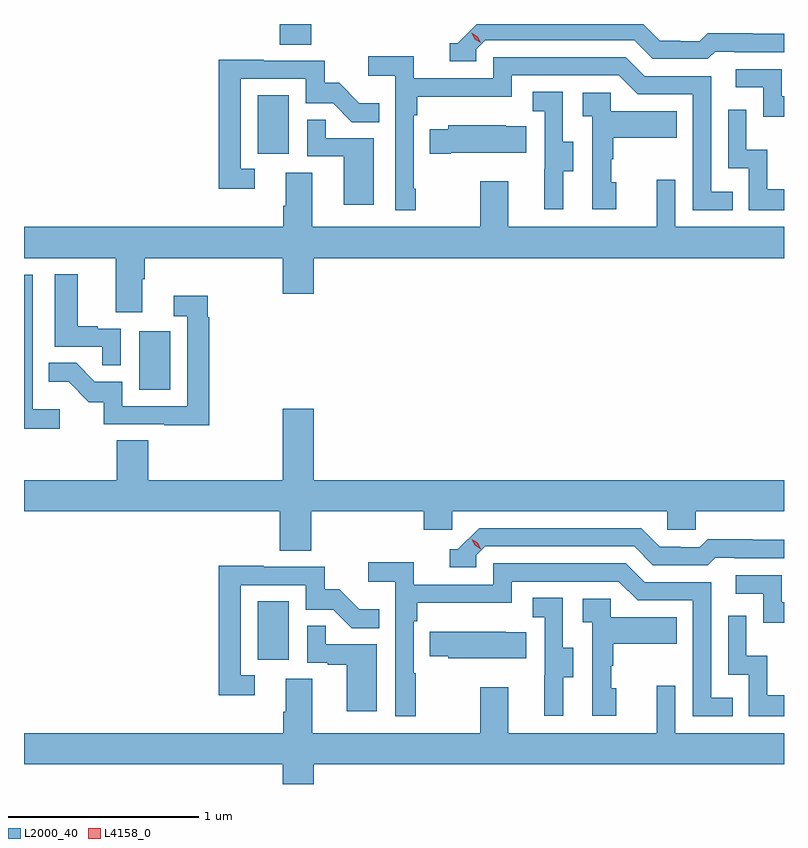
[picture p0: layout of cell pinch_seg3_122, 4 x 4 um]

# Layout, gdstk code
import gdstk
lib = gdstk.Library(unit=1e-6, precision=1e-09)
def R(c, l, rs):  # rectangles x0, y0, x1, y1
    for r in rs: c.add(gdstk.rectangle(r[:2], r[2:], *l))
def P(c, l, *ps):  # polygons
    for p in ps: c.add(gdstk.Polygon(p, *l))
L2000_40 = (2000, 40)
L4158_0 = (4158, 0)

pinch_seg3_122 = lib.new_cell('pinch_seg3_122')
R(pinch_seg3_122, L2000_40, [(1141.898,710.79,1142.062,711.097), (1141.274,712.212,1141.438,712.519), (1141.898,713.454,1142.062,713.761), (1142.015,714.028,1142.18,714.136)])
P(pinch_seg3_122, L2000_40, [(1143.048,714.003),(1143.096,714.051),(1143.879,714.051),(1143.978,713.952),(1144.267,713.952),(1144.306,713.991),(1144.405,713.991),(1144.405,713.988),(1144.668,713.988),(1144.668,714.085),(1144.5,714.085),(1144.5,714.088),(1144.267,714.088),(1144.225,714.045),(1144.122,714.045),(1144.122,714.048),(1144.015,714.048),(1143.927,714.136),(1143.052,714.136),(1142.952,714.036),(1142.909,714.036),(1142.909,713.94),(1143.048,713.94)],
  [(1142.731,713.269),(1142.718,713.269),(1142.718,713.657),(1142.738,713.657),(1142.738,713.753),(1143.234,713.753),(1143.234,713.865),(1143.798,713.865),(1143.897,713.766),(1144.188,713.766),(1144.188,713.157),(1144.397,713.157),(1144.397,713.253),(1144.284,713.253),(1144.284,713.862),(1143.934,713.862),(1143.835,713.961),(1143.138,713.961),(1143.138,713.85),(1142.72,713.85),(1142.72,713.966),(1142.481,713.966),(1142.481,713.864),(1142.622,713.864),(1142.622,713.157),(1142.731,713.157)],
  [(1141.882,713.373),(1141.809,713.373),(1141.809,713.847),(1142.151,713.847),(1142.151,713.718),(1142.295,713.718),(1142.393,713.62),(1142.537,713.62),(1142.537,713.719),(1142.433,713.719),(1142.326,713.826),(1142.25,713.826),(1142.25,713.943),(1141.931,713.943),(1141.931,713.948),(1141.693,713.948),(1141.693,713.268),(1141.882,713.268)],
  [(1144.668,713.757),(1144.656,713.757),(1144.656,713.898),(1144.413,713.898),(1144.413,713.802),(1144.56,713.802),(1144.56,713.649),(1144.668,713.649)],
  [(1143.505,713.362),(1143.559,713.362),(1143.559,713.517),(1143.504,713.517),(1143.504,713.78),(1143.345,713.78),(1143.345,713.677),(1143.408,713.677),(1143.408,713.373),(1143.407,713.373),(1143.407,713.16),(1143.505,713.16)],
  [(1143.784,713.304),(1143.759,713.304),(1143.759,713.423),(1143.769,713.423),(1143.769,713.537),(1144.103,713.537),(1144.103,713.677),(1143.756,713.677),(1143.756,713.775),(1143.609,713.775),(1143.609,713.651),(1143.66,713.651),(1143.66,713.16),(1143.784,713.16)],
  [(1144.668,713.266),(1144.58,713.266),(1144.58,713.474),(1144.47,713.474),(1144.47,713.686),(1144.374,713.686),(1144.374,713.376),(1144.482,713.376),(1144.482,713.157),(1144.668,713.157)],
  [(1142.509,713.535),(1142.255,713.535),(1142.255,713.633),(1142.16,713.633),(1142.16,713.439),(1142.351,713.439),(1142.351,713.184),(1142.509,713.184)],
  [(1142.914,713.459),(1143.311,713.459),(1143.311,713.599),(1143.203,713.599),(1143.203,713.602),(1142.901,713.602),(1142.901,713.581),(1142.803,713.581),(1142.803,713.452),(1142.914,713.452)],
  [(1141.291,712.792),(1141.304,712.792),(1141.304,712.904),(1142.03,712.904),(1142.03,712.716),(1142.194,712.716),(1142.194,712.904),(1144.668,712.904),(1144.668,713.068),(1144.095,713.068),(1144.095,713.317),(1143.998,713.317),(1143.998,713.068),(1143.217,713.068),(1143.217,713.308),(1143.07,713.308),(1143.07,713.068),(1142.185,713.068),(1142.185,713.354),(1142.045,713.354),(1142.045,713.18),(1142.033,713.18),(1142.033,713.068),(1140.668,713.068),(1140.668,712.904),(1141.151,712.904),(1141.151,712.618),(1141.291,712.618)],
  [(1141.176,712.533),(1141.055,712.533),(1141.055,712.546),(1140.952,712.546),(1140.952,712.819),(1140.83,712.819),(1140.83,712.437),(1141.081,712.437),(1141.081,712.339),(1141.176,712.339)],
  [(1140.856,712.108),(1140.714,712.108),(1140.714,712.816),(1140.668,712.816),(1140.668,712.006),(1140.856,712.006)],
  [(1141.643,712.592),(1141.636,712.592),(1141.636,712.705),(1141.455,712.705),(1141.455,712.599),(1141.527,712.599),(1141.527,712.125),(1141.185,712.125),(1141.185,712.254),(1141.04,712.254),(1140.942,712.352),(1140.799,712.352),(1140.799,712.253),(1140.903,712.253),(1141.01,712.146),(1141.087,712.146),(1141.087,712.029),(1141.405,712.029),(1141.405,712.024),(1141.643,712.024)],
  [(1142.18,711.572),(1142.771,711.572),(1142.771,711.474),(1142.922,711.474),(1142.922,711.572),(1144.053,711.572),(1144.053,711.474),(1144.203,711.474),(1144.203,711.572),(1144.668,711.572),(1144.668,711.736),(1142.194,711.736),(1142.194,712.111),(1142.03,712.111),(1142.03,711.736),(1141.322,711.736),(1141.322,711.944),(1141.157,711.944),(1141.157,711.736),(1140.668,711.736),(1140.668,711.572),(1142.015,711.572),(1142.015,711.364),(1142.18,711.364)],
  [(1143.048,711.339),(1143.096,711.387),(1143.879,711.387),(1143.978,711.288),(1144.267,711.288),(1144.306,711.327),(1144.405,711.327),(1144.405,711.324),(1144.668,711.324),(1144.668,711.421),(1144.5,711.421),(1144.5,711.424),(1144.267,711.424),(1144.225,711.381),(1144.122,711.381),(1144.122,711.384),(1144.015,711.384),(1143.916,711.483),(1143.063,711.483),(1142.952,711.372),(1142.909,711.372),(1142.909,711.276),(1143.048,711.276)],
  [(1142.731,710.72),(1142.718,710.72),(1142.718,710.993),(1142.738,710.993),(1142.738,711.089),(1143.234,711.089),(1143.234,711.201),(1143.798,711.201),(1143.897,711.102),(1144.188,711.102),(1144.188,710.493),(1144.397,710.493),(1144.397,710.589),(1144.284,710.589),(1144.284,711.198),(1143.934,711.198),(1143.835,711.297),(1143.138,711.297),(1143.138,711.186),(1142.72,711.186),(1142.72,711.302),(1142.481,711.302),(1142.481,711.2),(1142.622,711.2),(1142.622,710.493),(1142.731,710.493)],
  [(1141.882,710.709),(1141.809,710.709),(1141.809,711.183),(1142.151,711.183),(1142.151,711.054),(1142.295,711.054),(1142.393,710.956),(1142.537,710.956),(1142.537,711.055),(1142.433,711.055),(1142.326,711.162),(1142.25,711.162),(1142.25,711.279),(1141.931,711.279),(1141.931,711.284),(1141.693,711.284),(1141.693,710.604),(1141.882,710.604)],
  [(1144.668,711.093),(1144.656,711.093),(1144.656,711.234),(1144.413,711.234),(1144.413,711.138),(1144.56,711.138),(1144.56,710.985),(1144.668,710.985)],
  [(1143.505,710.698),(1143.559,710.698),(1143.559,710.853),(1143.504,710.853),(1143.504,711.116),(1143.345,711.116),(1143.345,711.013),(1143.408,711.013),(1143.408,710.709),(1143.407,710.709),(1143.407,710.496),(1143.505,710.496)],
  [(1143.784,710.64),(1143.759,710.64),(1143.759,710.759),(1143.769,710.759),(1143.769,710.873),(1144.103,710.873),(1144.103,711.013),(1143.756,711.013),(1143.756,711.111),(1143.609,711.111),(1143.609,710.987),(1143.66,710.987),(1143.66,710.496),(1143.784,710.496)],
  [(1144.668,710.602),(1144.58,710.602),(1144.58,710.81),(1144.47,710.81),(1144.47,711.022),(1144.374,711.022),(1144.374,710.712),(1144.482,710.712),(1144.482,710.493),(1144.668,710.493)],
  [(1142.524,710.871),(1142.255,710.871),(1142.255,710.969),(1142.16,710.969),(1142.16,710.775),(1142.267,710.775),(1142.267,710.763),(1142.366,710.763),(1142.366,710.52),(1142.524,710.52)],
  [(1143.311,710.935),(1143.203,710.935),(1143.203,710.938),(1142.803,710.938),(1142.803,710.809),(1142.901,710.809),(1142.901,710.798),(1143.311,710.798)],
  [(1142.194,710.24),(1144.668,710.24),(1144.668,710.404),(1144.095,710.404),(1144.095,710.653),(1143.998,710.653),(1143.998,710.404),(1143.217,710.404),(1143.217,710.644),(1143.07,710.644),(1143.07,710.404),(1142.185,710.404),(1142.185,710.69),(1142.045,710.69),(1142.045,710.516),(1142.033,710.516),(1142.033,710.404),(1140.668,710.404),(1140.668,710.24),(1142.03,710.24),(1142.03,710.136),(1142.194,710.136)])
P(pinch_seg3_122, L4158_0, [(1143.071,711.372),(1143.041,711.392),(1143.025,711.425),(1143.025,711.425),(1143.025,711.425),(1143.056,711.405),(1143.072,711.373),(1143.072,711.372)],
  [(1143.071,714.037),(1143.041,714.056),(1143.025,714.088),(1143.025,714.089),(1143.025,714.089),(1143.056,714.07),(1143.072,714.037),(1143.072,714.037)])

lib.write_gds('pinch_seg3_122.gds')
